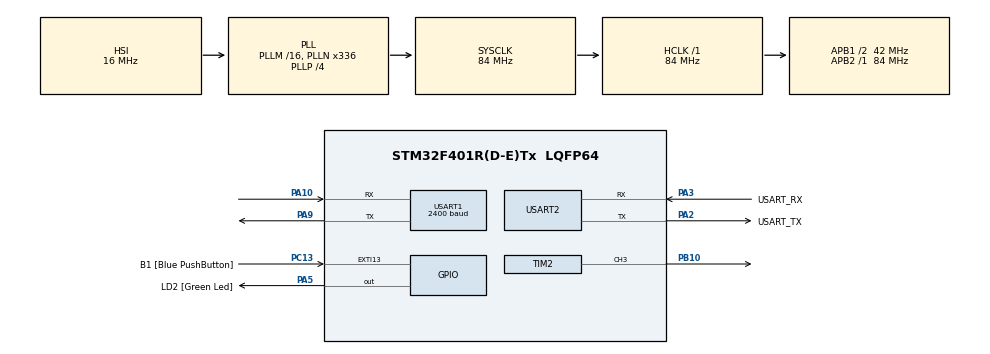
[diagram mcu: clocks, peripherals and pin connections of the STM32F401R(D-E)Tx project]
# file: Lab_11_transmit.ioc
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Mcu.Family=STM32F4
Mcu.Name=STM32F401R(D-E)Tx
Mcu.Package=LQFP64
NVIC.PriorityGroup=NVIC_PRIORITYGROUP_0
NVIC.TIM1_UP_TIM10_IRQn=true\:0\:0\:false\:false\:true\:true\:true\:true
NVIC.USART1_IRQn=true\:0\:0\:false\:false\:true\:true\:true\:true
NVIC.USART2_IRQn=true\:0\:0\:false\:false\:true\:true\:true\:true
PA10.Mode=Asynchronous
PA10.Signal=USART1_RX
PA13.GPIO_Label=TMS
PA13.Mode=Serial_Wire
PA13.Signal=SYS_JTMS-SWDIO
PA14.GPIO_Label=TCK
PA14.Mode=Serial_Wire
PA14.Signal=SYS_JTCK-SWCLK
PA2.GPIO_Label=USART_TX
PA2.GPIO_Mode=GPIO_MODE_AF_PP
PA2.GPIO_PuPd=GPIO_NOPULL
PA2.GPIO_Speed=GPIO_SPEED_FREQ_LOW
PA2.Mode=Asynchronous
PA2.Signal=USART2_TX
PA3.GPIO_Label=USART_RX
PA3.GPIO_Mode=GPIO_MODE_AF_PP
PA3.GPIO_PuPd=GPIO_NOPULL
PA3.GPIO_Speed=GPIO_SPEED_FREQ_LOW
PA3.Mode=Asynchronous
PA3.Signal=USART2_RX
PA5.GPIO_Label=LD2 [Green Led]
PA5.GPIO_Mode=GPIO_MODE_OUTPUT_PP
PA5.GPIO_PuPd=GPIO_NOPULL
PA5.GPIO_Speed=GPIO_SPEED_FREQ_LOW
PA5.Signal=GPIO_Output
PA9.Mode=Asynchronous
PA9.Signal=USART1_TX
PB10.Signal=S_TIM2_CH3
PB3.GPIO_Label=SWO
PB3.Signal=SYS_JTDO-SWO
PC13-ANTI_TAMP.GPIO_Label=B1 [Blue PushButton]
PC13-ANTI_TAMP.GPIO_ModeDefaultEXTI=GPIO_MODE_IT_FALLING
PC13-ANTI_TAMP.GPIO_PuPd=GPIO_NOPULL
PC13-ANTI_TAMP.Signal=GPXTI13
PC14-OSC32_IN.Mode=LSE-External-Oscillator
PC14-OSC32_IN.Signal=RCC_OSC32_IN
PC15-OSC32_OUT.Mode=LSE-External-Oscillator
PC15-OSC32_OUT.Signal=RCC_OSC32_OUT
PH0\ -\ OSC_IN.Mode=HSE-External-Clock-Source
PH0\ -\ OSC_IN.Signal=RCC_OSC_IN
PH1\ -\ OSC_OUT.Mode=HSE-External-Clock-Source
PH1\ -\ OSC_OUT.Signal=RCC_OSC_OUT
ProjectManager.HeapSize=0x200
ProjectManager.StackSize=0x400
ProjectManager.TargetToolchain=STM32CubeIDE
RCC.48MHZClocksFreq_Value=48000000
RCC.AHBFreq_Value=84000000
RCC.APB1CLKDivider=RCC_HCLK_DIV2
RCC.APB1Freq_Value=42000000
RCC.APB1TimFreq_Value=84000000
RCC.APB2Freq_Value=84000000
RCC.APB2TimFreq_Value=84000000
RCC.CortexFreq_Value=84000000
RCC.HCLKFreq_Value=84000000
RCC.HSE_VALUE=8000000
RCC.HSI_VALUE=16000000
RCC.PLLN=336
RCC.PLLP=RCC_PLLP_DIV4
RCC.PLLQ=7
RCC.SYSCLKFreq_VALUE=84000000
RCC.SYSCLKSource=RCC_SYSCLKSOURCE_PLLCLK
RCC.VCOOutputFreq_Value=336000000
SH.S_TIM2_CH3.0=TIM2_CH3,PWM Generation3 CH3
TIM10.Period=35000-1
TIM2.Channel-PWM\ Generation3\ CH3=TIM_CHANNEL_3
TIM2.Period=2210-1
TIM2.Pulse-PWM\ Generation3\ CH3=1105-1
USART1.BaudRate=2400
USART1.VirtualMode=VM_ASYNC
USART2.VirtualMode=VM_ASYNC
VP_TIM10_VS_ClockSourceINT.Mode=Enable_Timer
VP_TIM2_VS_ClockSourceINT.Mode=Internal
board=NUCLEO-F401RE

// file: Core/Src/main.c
/* USER CODE BEGIN Header */
/**
  ******************************************************************************
  * @file           : main.c
  * @brief          : Main program body
  ******************************************************************************
  * @attention
  *
  * Copyright (c) 2024 STMicroelectronics.
  * All rights reserved.
  *
  * This software is licensed under terms that can be found in the LICENSE file
  * in the root directory of this software component.
  * If no LICENSE file comes with this software, it is provided AS-IS.
  *
  ******************************************************************************
  */
/* USER CODE END Header */
#include "main.h"

TIM_HandleTypeDef htim2;
TIM_HandleTypeDef htim10;

UART_HandleTypeDef huart1;
UART_HandleTypeDef huart2;

/* USER CODE BEGIN PV */
uint8_t RX_byte;
uint8_t RX_byte2;
uint8_t command;
int new_command;
int BaudElapsedFlag;
/* USER CODE END PV */

void SystemClock_Config(void);
static void MX_GPIO_Init(void);
static void MX_USART2_UART_Init(void);
static void MX_TIM2_Init(void);
static void MX_TIM10_Init(void);
static void MX_USART1_UART_Init(void);

/* USER CODE BEGIN 0 */

void HAL_UART_RxCpltCallback(UART_HandleTypeDef *huart) { // callback of the receiver of the UART1 to receive the byte and manage it (in this case we send the byte to the remote terminal)
    /*if(huart->Instance == USART1){
    	HAL_UART_Receive_IT(&huart1, &RX_byte, 1);
    	command = RX_byte;
    	new_command = 1;
    }*/

    if(huart->Instance == USART1){
		command = RX_byte2;
		new_command = 1;

		char string[64];
		int length = snprintf(string, sizeof(string), "Abbiamo ricevuto: %c\r\n",RX_byte2);
			if( HAL_UART_GetState(&huart2)==HAL_UART_STATE_READY ){
				HAL_UART_Transmit(&huart2, string, length, 100);
			}

		HAL_UART_Receive_IT(&huart1, &RX_byte2, 1);
	}
}

void UART_IR_sendByte(char byte){
	HAL_TIM_Base_Start_IT(&htim10); //enable baud rate interrupt timer
	HAL_TIM_PWM_Start(&htim2, TIM_CHANNEL_3); //send start bit('0')
	BaudElapsedFlag = 0;
	while(BaudElapsedFlag == 0){ //variabile globale, può essere modificata
		//just wait
	}

	for(int bit_ctr = 0; bit_ctr < 8; bit_ctr++){
		//the flag has been reset in the periodElapsedCallback of TIM10
		if((byte & (0x01<<bit_ctr)) == 0){
			//we want to send a zero
			//so we have to enable the PWM
			HAL_TIM_PWM_Start(&htim2, TIM_CHANNEL_3);
		}else{
			//we want to send a '1'
			//so we stop the PWM
			HAL_TIM_PWM_Stop(&htim2, TIM_CHANNEL_3);
		}
		//then we reset the flag
		BaudElapsedFlag = 0;
		while(BaudElapsedFlag == 0){
			//just wait
		}
	}
	//we need to send the STOP bit ('1')
	HAL_TIM_PWM_Stop(&htim2, TIM_CHANNEL_3);
	while(BaudElapsedFlag ==0){
		//just wait
	}
	HAL_TIM_Base_Stop_IT(&htim10);
	BaudElapsedFlag=0;
}

/*
void UART_IR_Send(char *payload, int size){
	for(int i=0; i<size; i++){
		UART_IR_sendByte(payload[i]);
		HAL_Delay(1);
	}
} */

void HAL_TIM_PeriodElapsedCallback(TIM_HandleTypeDef* htim) { // The TIM10 is used to count the time, it provides an interrupt every 1 / 2400 seconds (2400 Hz), and in the callback the baud_elapsed_flag is set to 1.

 if(htim->Instance == TIM10){
	 BaudElapsedFlag = 1;
 }

 if(htim->Instance == TIM11){

  }

}

/* USER CODE END 0 */

int main(void)
{

  /* MCU Configuration--------------------------------------------------------*/

  /* Reset of all peripherals, Initializes the Flash interface and the Systick. */
  HAL_Init();

  /* Configure the system clock */
  SystemClock_Config();

  /* Initialize all configured peripherals */
  MX_GPIO_Init();
  MX_USART2_UART_Init();
  MX_TIM2_Init();
  MX_TIM10_Init();
  MX_USART1_UART_Init();
  /* USER CODE BEGIN 2 */

  HAL_UART_Receive_IT(&huart1, &RX_byte2, 1); //initialize the receiver

  /* USER CODE END 2 */

  /* Infinite loop */
  /* USER CODE BEGIN WHILE */
  while (1)
  {
	  UART_IR_sendByte('A'); //send the letter A every second
	  HAL_Delay(1000);
    /* USER CODE END WHILE */

  }
}

void SystemClock_Config(void)
{
  RCC_OscInitTypeDef RCC_OscInitStruct = {0};
  RCC_ClkInitTypeDef RCC_ClkInitStruct = {0};

  /** Configure the main internal regulator output voltage
  */
  __HAL_RCC_PWR_CLK_ENABLE();
  __HAL_PWR_VOLTAGESCALING_CONFIG(PWR_REGULATOR_VOLTAGE_SCALE2);

  /** Initializes the RCC Oscillators according to the specified parameters
  * in the RCC_OscInitTypeDef structure.
  */
  RCC_OscInitStruct.OscillatorType = RCC_OSCILLATORTYPE_HSI;
  RCC_OscInitStruct.HSIState = RCC_HSI_ON;
  RCC_OscInitStruct.HSICalibrationValue = RCC_HSICALIBRATION_DEFAULT;
  RCC_OscInitStruct.PLL.PLLState = RCC_PLL_ON;
  RCC_OscInitStruct.PLL.PLLSource = RCC_PLLSOURCE_HSI;
  RCC_OscInitStruct.PLL.PLLM = 16;
  RCC_OscInitStruct.PLL.PLLN = 336;
  RCC_OscInitStruct.PLL.PLLP = RCC_PLLP_DIV4;
  RCC_OscInitStruct.PLL.PLLQ = 7;
  if (HAL_RCC_OscConfig(&RCC_OscInitStruct) != HAL_OK)
  {
    Error_Handler();
  }

  /** Initializes the CPU, AHB and APB buses clocks
  */
  RCC_ClkInitStruct.ClockType = RCC_CLOCKTYPE_HCLK|RCC_CLOCKTYPE_SYSCLK
                              |RCC_CLOCKTYPE_PCLK1|RCC_CLOCKTYPE_PCLK2;
  RCC_ClkInitStruct.SYSCLKSource = RCC_SYSCLKSOURCE_PLLCLK;
  RCC_ClkInitStruct.AHBCLKDivider = RCC_SYSCLK_DIV1;
  RCC_ClkInitStruct.APB1CLKDivider = RCC_HCLK_DIV2;
  RCC_ClkInitStruct.APB2CLKDivider = RCC_HCLK_DIV1;

  if (HAL_RCC_ClockConfig(&RCC_ClkInitStruct, FLASH_LATENCY_2) != HAL_OK)
  {
    Error_Handler();
  }
}

static void MX_TIM2_Init(void)
{

  TIM_ClockConfigTypeDef sClockSourceConfig = {0};
  TIM_MasterConfigTypeDef sMasterConfig = {0};
  TIM_OC_InitTypeDef sConfigOC = {0};

  htim2.Instance = TIM2;
  htim2.Init.Prescaler = 0;
  htim2.Init.CounterMode = TIM_COUNTERMODE_UP;
  htim2.Init.Period = 2210-1;
  htim2.Init.ClockDivision = TIM_CLOCKDIVISION_DIV1;
  htim2.Init.AutoReloadPreload = TIM_AUTORELOAD_PRELOAD_DISABLE;
  if (HAL_TIM_Base_Init(&htim2) != HAL_OK)
  {
    Error_Handler();
  }
  sClockSourceConfig.ClockSource = TIM_CLOCKSOURCE_INTERNAL;
  if (HAL_TIM_ConfigClockSource(&htim2, &sClockSourceConfig) != HAL_OK)
  {
    Error_Handler();
  }
  if (HAL_TIM_PWM_Init(&htim2) != HAL_OK)
  {
    Error_Handler();
  }
  sMasterConfig.MasterOutputTrigger = TIM_TRGO_RESET;
  sMasterConfig.MasterSlaveMode = TIM_MASTERSLAVEMODE_DISABLE;
  if (HAL_TIMEx_MasterConfigSynchronization(&htim2, &sMasterConfig) != HAL_OK)
  {
    Error_Handler();
  }
  sConfigOC.OCMode = TIM_OCMODE_PWM1;
  sConfigOC.Pulse = 1105-1;
  sConfigOC.OCPolarity = TIM_OCPOLARITY_HIGH;
  sConfigOC.OCFastMode = TIM_OCFAST_DISABLE;
  if (HAL_TIM_PWM_ConfigChannel(&htim2, &sConfigOC, TIM_CHANNEL_3) != HAL_OK)
  {
    Error_Handler();
  }
  HAL_TIM_MspPostInit(&htim2);

}

static void MX_TIM10_Init(void)
{

  htim10.Instance = TIM10;
  htim10.Init.Prescaler = 0;
  htim10.Init.CounterMode = TIM_COUNTERMODE_UP;
  htim10.Init.Period = 35000-1;
  htim10.Init.ClockDivision = TIM_CLOCKDIVISION_DIV1;
  htim10.Init.AutoReloadPreload = TIM_AUTORELOAD_PRELOAD_DISABLE;
  if (HAL_TIM_Base_Init(&htim10) != HAL_OK)
  {
    Error_Handler();
  }

}

static void MX_USART1_UART_Init(void)
{

  huart1.Instance = USART1;
  huart1.Init.BaudRate = 2400;
  huart1.Init.WordLength = UART_WORDLENGTH_8B;
  huart1.Init.StopBits = UART_STOPBITS_1;
  huart1.Init.Parity = UART_PARITY_NONE;
  huart1.Init.Mode = UART_MODE_TX_RX;
  huart1.Init.HwFlowCtl = UART_HWCONTROL_NONE;
  huart1.Init.OverSampling = UART_OVERSAMPLING_16;
  if (HAL_UART_Init(&huart1) != HAL_OK)
  {
    Error_Handler();
  }

}

static void MX_USART2_UART_Init(void)
{

  huart2.Instance = USART2;
  huart2.Init.BaudRate = 115200;
  huart2.Init.WordLength = UART_WORDLENGTH_8B;
  huart2.Init.StopBits = UART_STOPBITS_1;
  huart2.Init.Parity = UART_PARITY_NONE;
  huart2.Init.Mode = UART_MODE_TX_RX;
  huart2.Init.HwFlowCtl = UART_HWCONTROL_NONE;
  huart2.Init.OverSampling = UART_OVERSAMPLING_16;
  if (HAL_UART_Init(&huart2) != HAL_OK)
  {
    Error_Handler();
  }

}

static void MX_GPIO_Init(void)
{
  GPIO_InitTypeDef GPIO_InitStruct = {0};

  /* GPIO Ports Clock Enable */
  __HAL_RCC_GPIOC_CLK_ENABLE();
  __HAL_RCC_GPIOH_CLK_ENABLE();
  __HAL_RCC_GPIOA_CLK_ENABLE();
  __HAL_RCC_GPIOB_CLK_ENABLE();

  /*Configure GPIO pin Output Level */
  HAL_GPIO_WritePin(LD2_GPIO_Port, LD2_Pin, GPIO_PIN_RESET);

  /*Configure GPIO pin : B1_Pin */
  GPIO_InitStruct.Pin = B1_Pin;
  GPIO_InitStruct.Mode = GPIO_MODE_IT_FALLING;
  GPIO_InitStruct.Pull = GPIO_NOPULL;
  HAL_GPIO_Init(B1_GPIO_Port, &GPIO_InitStruct);

  /*Configure GPIO pin : LD2_Pin */
  GPIO_InitStruct.Pin = LD2_Pin;
  GPIO_InitStruct.Mode = GPIO_MODE_OUTPUT_PP;
  GPIO_InitStruct.Pull = GPIO_NOPULL;
  GPIO_InitStruct.Speed = GPIO_SPEED_FREQ_LOW;
  HAL_GPIO_Init(LD2_GPIO_Port, &GPIO_InitStruct);

}

void Error_Handler(void)
{
  __disable_irq();
  while (1)
  {
  }
}
